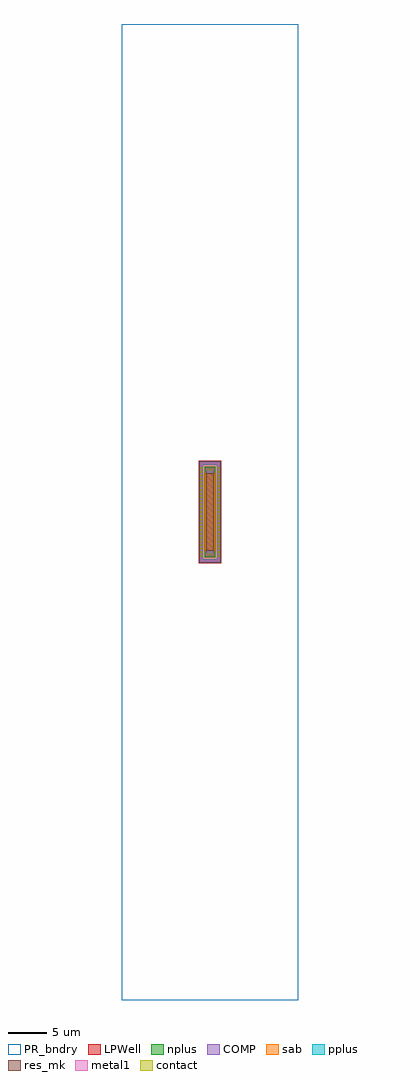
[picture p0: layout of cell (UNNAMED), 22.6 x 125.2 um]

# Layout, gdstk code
import gdstk
lib = gdstk.Library(unit=1e-6, precision=1e-09)
def R(c, l, rs):  # rectangles x0, y0, x1, y1
    for r in rs: c.add(gdstk.rectangle(r[:2], r[2:], *l))
def A(c, l, x, y, w, h, nx, ny, dx, dy):  # array of equal rectangles
    R(c, l, [(x+i*dx, y+j*dy, x+i*dx+w, y+j*dy+h) for i in range(nx) for j in range(ny)])
PR_bndry = (0, 0)
COMP = (22, 0)
pplus = (31, 0)
nplus = (32, 0)
contact = (33, 0)
metal1 = (34, 0)
sab = (49, 0)
res_mk = (110, 5)
LPWell = (204, 0)

c__unnamed_ = lib.new_cell('(UNNAMED)')
R(c__unnamed_, PR_bndry, [(-11.3,-62.6,11.3,62.6)])
R(c__unnamed_, COMP, [(-1.31,-6.44,1.31,-6.08), (-1.31,-6.08,-0.95,6.08), (0.95,-6.08,1.31,6.08), (-0.5,-5.63,0.5,5.63), (-1.31,6.08,1.31,6.44)])
R(c__unnamed_, pplus, [(-1.33,-6.46,1.33,-6.06), (-1.33,-6.06,-0.92,-5.955), (0.92,-6.06,1.33,-5.955), (-1.34,-5.955,-0.92,5.955), (0.92,-5.955,1.34,5.955), (-1.33,5.955,-0.92,6.06), (0.92,5.955,1.33,6.06), (-1.33,6.06,1.33,6.46)])
R(c__unnamed_, nplus, [(-0.68,-5.81,0.68,5.81), (-0.66,-5.79,0.66,5.79)])
A(c__unnamed_, contact, -1.24, -5.75, 0.22, 0.22, 1, 25, 0, 0.47)
A(c__unnamed_, contact, 1.02, -5.75, 0.22, 0.22, 1, 25, 0, 0.47)
R(c__unnamed_, contact, [(-0.345,-5.56,-0.125,-5.34), (0.125,-5.56,0.345,-5.34), (-0.345,5.34,-0.125,5.56), (0.125,5.34,0.345,5.56)])
R(c__unnamed_, metal1, [(-1.245,-6.375,1.245,-6.145), (-1.245,-6.145,-1.015,6.145), (1.015,-6.145,1.245,6.145), (-0.49,-5.565,0.49,-5.335), (-0.49,5.335,0.49,5.565), (-1.245,6.145,1.245,6.375)])
R(c__unnamed_, sab, [(-0.72,-5,0.72,5)])
R(c__unnamed_, res_mk, [(-0.5,-5,0.5,5)])
R(c__unnamed_, LPWell, [(-1.43,-6.56,1.43,6.56)])

lib.write_gds('_UNNAMED_.gds')
